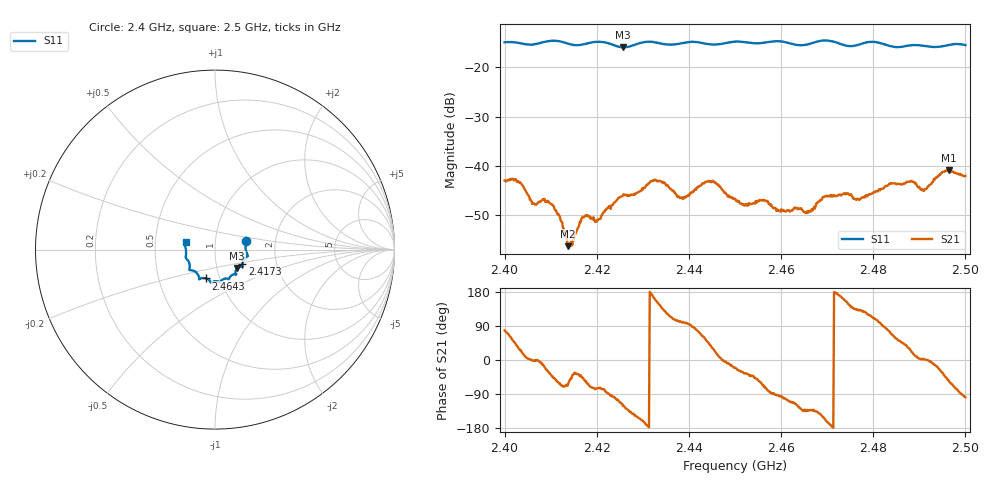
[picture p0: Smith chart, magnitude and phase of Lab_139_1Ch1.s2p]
# Hz S RI R 50
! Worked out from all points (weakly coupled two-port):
!   601 points, 2.4 GHz to 2.5 GHz, reference 50 ohm
!   highest |S21| = -40.92 dB at 2.4965 GHz (marker M1); lowest = -56.4 dB at 2.4137 GHz (marker M2)
!   lowest |S11| = -15.9 dB at 2.4257 GHz (marker M3), VSWR 1.38, Z = 62.5 - j13.2 ohm
!   |S11| at or under -10 dB: start of sweep to end of sweep
!   S12 and S22 are empty: the file has one direction only
!   S11 on the Smith chart (normalised r, x): 2.4 GHz: 1.41, +0.14; 2.4173 GHz: 1.34, -0.23; 2.4643 GHz: 0.86, -0.28; 2.5 GHz: 0.72, +0.06
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2.4e9  0.1738 0.0483  0.00144 0.00691  0 0  0 0
2.403333e9  0.1738 0.0312  0.00611 0.00295  0 0  0 0
2.4065e9  0.1719 -0.00454  0.00404 -4.11e-05  0 0  0 0
2.410167e9  0.1836 -0.0337  0.00303 -0.00268  0 0  0 0
2.413667e9  0.1692 -0.0449  0.000568 -0.0014  0 0  0 0
2.4145e9  0.1632 -0.0513  0.00111 -0.00128  0 0  0 0
2.416667e9  0.1529 -0.0748  0.00206 -0.00202  0 0  0 0
2.417333e9  0.1519 -0.0822  0.00181 -0.00242  0 0  0 0
2.420167e9  0.154 -0.0978  0.000723 -0.00265  0 0  0 0
2.425667e9  0.1228 -0.1026  -0.00254 -0.00424  0 0  0 0
2.433333e9  0.1126 -0.1373  -0.00605 0.00352  0 0  0 0
2.4385e9  0.0811 -0.1568  -0.000749 0.00469  0 0  0 0
2.445e9  0.0555 -0.162  0.00581 0.00369  0 0  0 0
2.45e9  0.0284 -0.1809  0.00432 -0.00159  0 0  0 0
2.464333e9  -0.0499 -0.1606  -0.00235 -0.00284  0 0  0 0
2.466667e9  -0.0759 -0.1592  -0.00243 -0.00268  0 0  0 0
2.4695e9  -0.0885 -0.166  -0.00442 -0.00196  0 0  0 0
2.476667e9  -0.1228 -0.1166  -0.00308 0.00342  0 0  0 0
2.483333e9  -0.1402 -0.0898  0.0014 0.00626  0 0  0 0
2.491167e9  -0.1619 -0.0332  0.00576 0.000147  0 0  0 0
2.4965e9  -0.1681 0.0237  0.0049 -0.00755  0 0  0 0
2.5e9  -0.1635 0.0426  -0.00113 -0.00778  0 0  0 0
